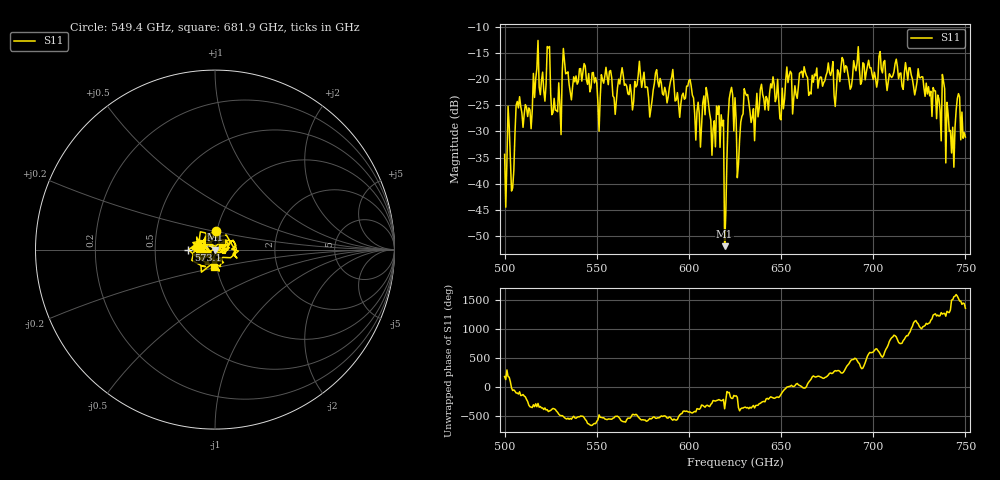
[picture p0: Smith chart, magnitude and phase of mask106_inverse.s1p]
!Created with skrf (http://scikit-rf.org).
# GHz S MA R 50.0
!freq magS11 angS11
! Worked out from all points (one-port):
!   401 points, 500 GHz to 750 GHz, reference 50 ohm
!   lowest |S11| = -51.9 dB at 619.4 GHz (marker M1), VSWR 1.01, Z = 50.2 - j0.0774 ohm
!   |S11| at or under -10 dB: start of sweep to end of sweep
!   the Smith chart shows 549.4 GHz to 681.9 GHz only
!   S11 on the Smith chart (normalised r, x): 549.4 GHz: 0.99, +0.21; 573.1 GHz: 0.74, -0.00; 681.9 GHz: 0.98, -0.19
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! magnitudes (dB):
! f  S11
! 500 GHz  -34.4
! 504.4 GHz  -40.8
! 507.5 GHz  -25.5
! 513.8 GHz  -25.9
! 516.9 GHz  -20.0
! 523.8 GHz  -14.1
! 526.9 GHz  -23.7
! 531.2 GHz  -18.8
! 549.4 GHz  -19.7
! 562.5 GHz  -21.0
! 573.1 GHz  -16.6
! 593.8 GHz  -22.6
! 600 GHz  -20.3
! 605 GHz  -24.4
! 608.8 GHz  -26.8
! 616.2 GHz  -25.1
! 619.4 GHz  -51.9
! 620.6 GHz  -35.3
! 622.5 GHz  -22.5
! 625 GHz  -23.6
! 627.5 GHz  -31.6
! 631.2 GHz  -23.1
! 635 GHz  -25.7
! 656.2 GHz  -26.7
! 681.9 GHz  -20.5
! 687.5 GHz  -21.9
! 718.8 GHz  -20.2
! 750 GHz  -31.1
